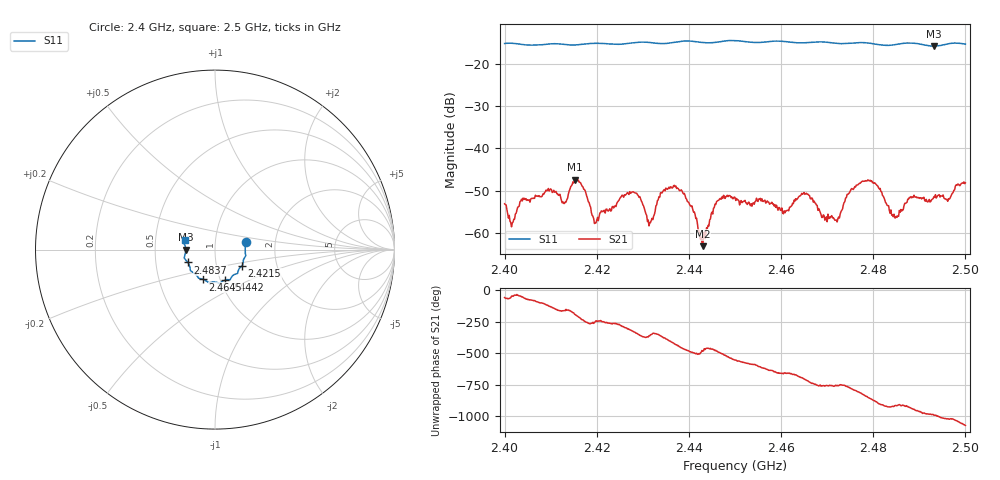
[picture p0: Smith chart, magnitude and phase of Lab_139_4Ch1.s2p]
# Hz S RI R 50
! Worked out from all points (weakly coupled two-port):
!   601 points, 2.4 GHz to 2.5 GHz, reference 50 ohm
!   highest |S21| = -47.45 dB at 2.4153 GHz (marker M1); lowest = -63.2 dB at 2.443 GHz (marker M2)
!   lowest |S11| = -15.7 dB at 2.4932 GHz (marker M3), VSWR 1.39, Z = 36 - j0.0411 ohm
!   |S11| at or under -10 dB: start of sweep to end of sweep
!   S12 and S22 are empty: the file has one direction only
!   S11 on the Smith chart (normalised r, x): 2.4 GHz: 1.41, +0.12; 2.4215 GHz: 1.33, -0.25; 2.4442 GHz: 1.05, -0.37; 2.4645 GHz: 0.83, -0.29; 2.4837 GHz: 0.73, -0.11; 2.5 GHz: 0.71, +0.07
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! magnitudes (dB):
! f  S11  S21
! 2.4 GHz  -15.1  -53.1
! 2.4017 GHz  -15.1  -57.7
! 2.4153 GHz  -15.5  -47.5
! 2.4167 GHz  -15.3  -48.6
! 2.4195 GHz  -15.1  -57.8
! 2.4215 GHz  -15.1  -54.7
! 2.4282 GHz  -14.9  -50.5
! 2.4315 GHz  -14.9  -57.6
! 2.4333 GHz  -15.1  -52.2
! 2.4385 GHz  -14.6  -50.1
! 2.443 GHz  -14.9  -63.2
! 2.4442 GHz  -14.9  -58.2
! 2.45 GHz  -14.4  -51.6
! 2.4608 GHz  -14.6  -55.3
! 2.4645 GHz  -15.0  -50.6
! 2.4667 GHz  -14.8  -51.7
! 2.4722 GHz  -15.1  -57.5
! 2.4792 GHz  -15.0  -47.7
! 2.4833 GHz  -15.6  -53.6
! 2.4837 GHz  -15.5  -55.4
! 2.4932 GHz  -15.7  -51.4
! 2.5 GHz  -15.3  -48.2
